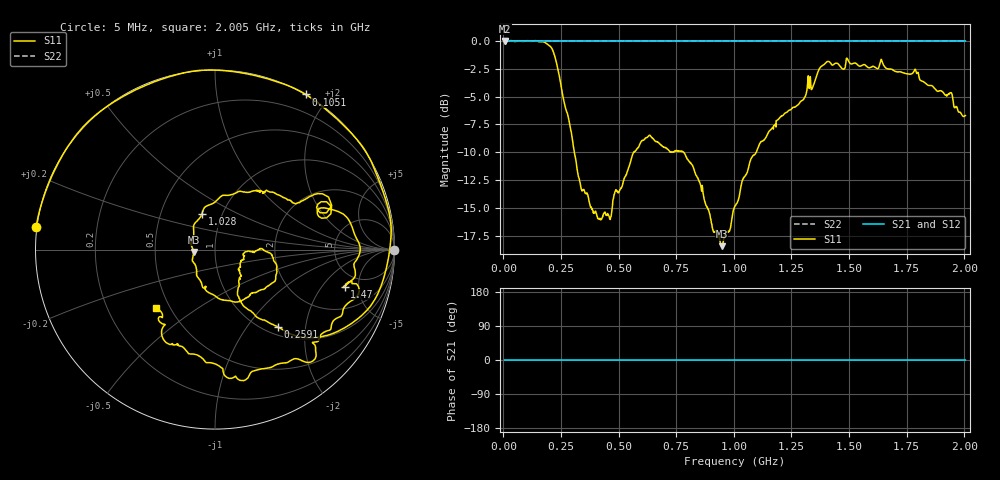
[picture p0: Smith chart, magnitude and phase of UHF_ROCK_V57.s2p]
!Keysight Technologies N9923A: A.08.09
!Date: Wednesday, 01 August 2018 08:18:31
!Timezone: (GMT+08:00) Kuala Lumpur, Singapore
!Model: N9923A
!Serial: MY52412143
!GPS Latitude:
!GPS Longitude:
!GPS TimeStamp: 0001-01-01 00:00:00Z
!GPS Seconds Since Last Read: 0
!CHECKSUM:0925983684
!Correction: S11(ON U)S21()S12()S22()
!S2P File: Measurements:S11,S21,S12,S22:
# Hz S DB R 50
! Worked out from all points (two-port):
!   2000 points, 5 MHz to 2.005 GHz, reference 50 ohm
!   highest |S21| = 0.00 dB at 5 MHz (marker M1); lowest = 0.0 dB at 5 MHz (marker M2)
!   |S21| within 3 dB of the highest: start of sweep to end of sweep
!   lowest |S11| = -18.4 dB at 946.5 MHz (marker M3), VSWR 1.27, Z = 39.3 - j1.07 ohm
!   |S11| at or under -10 dB: 307.5 MHz to 564.9 MHz (257.4 MHz wide, 59 % of centre); 782.1 MHz to 1.097 GHz (314.9 MHz wide, 33.5 % of centre)
!   |S22| runs from 0.0 to 0.0 dB; largest |S21 - S12| = 0
!   S11 on the Smith chart (normalised r, x): 5 MHz: -0.00, +0.06; 105.1 MHz: -0.00, +1.74; 259.1 MHz: 1.14, -1.42; 1.028 GHz: 0.80, +0.34; 1.47 GHz: 3.64, -3.44; 2.005 GHz: 0.42, -0.35
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5000000  0.04 172.8  0.00 0.0  0.00 0.0  0.00 0.0
5.402451e7  -0.05 109.0  0.00 0.0  0.00 0.0  0.00 0.0
1.0505e8  0.02 59.6  0.00 0.0  0.00 0.0  0.00 0.0
1.420685e8  0.01 31.4  0.00 0.0  0.00 0.0  0.00 0.0
1.83089e8  -0.19 2.2  0.00 0.0  0.00 0.0  0.00 0.0
2.261106e8  -1.63 -32.8  0.00 0.0  0.00 0.0  0.00 0.0
2.591271e8  -5.10 -50.8  0.00 0.0  0.00 0.0  0.00 0.0
3.391671e8  -13.34 -51.3  0.00 0.0  0.00 0.0  0.00 0.0
4.582266e8  -15.71 -11.6  0.00 0.0  0.00 0.0  0.00 0.0
5.342646e8  -11.99 1.2  0.00 0.0  0.00 0.0  0.00 0.0
6.723337e8  -9.11 -39.1  0.00 0.0  0.00 0.0  0.00 0.0
8.154052e8  -11.04 -82.6  0.00 0.0  0.00 0.0  0.00 0.0
9.464707e8  -18.42 -173.6  0.00 0.0  0.00 0.0  0.00 0.0
1.0055e9  -14.81 129.8  0.00 0.0  0.00 0.0  0.00 0.0
1.027511e9  -13.44 110.0  0.00 0.0  0.00 0.0  0.00 0.0
1.157576e9  -8.02 55.5  0.00 0.0  0.00 0.0  0.00 0.0
1.338667e9  -4.34 20.3  0.00 0.0  0.00 0.0  0.00 0.0
1.4047e9  -1.86 1.5  0.00 0.0  0.00 0.0  0.00 0.0
1.469732e9  -2.49 -15.9  0.00 0.0  0.00 0.0  0.00 0.0
1.671833e9  -2.52 -55.5  0.00 0.0  0.00 0.0  0.00 0.0
1.792894e9  -2.89 -80.7  0.00 0.0  0.00 0.0  0.00 0.0
2.005e9  -6.70 -135.5  0.00 0.0  0.00 0.0  0.00 0.0
